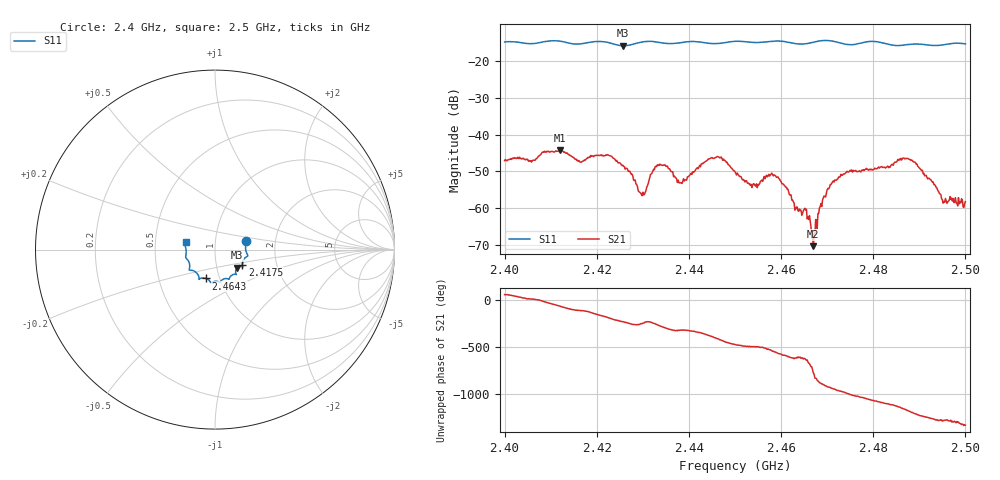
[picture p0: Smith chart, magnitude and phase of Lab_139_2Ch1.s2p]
# Hz S RI R 50
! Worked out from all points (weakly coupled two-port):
!   601 points, 2.4 GHz to 2.5 GHz, reference 50 ohm
!   highest |S21| = -44.31 dB at 2.412 GHz (marker M1); lowest = -70.3 dB at 2.467 GHz (marker M2)
!   lowest |S11| = -15.9 dB at 2.4257 GHz (marker M3), VSWR 1.38, Z = 62.5 - j13 ohm
!   |S11| at or under -10 dB: start of sweep to end of sweep
!   S12 and S22 are empty: the file has one direction only
!   S11 on the Smith chart (normalised r, x): 2.4 GHz: 1.41, +0.14; 2.4175 GHz: 1.34, -0.23; 2.4643 GHz: 0.86, -0.28; 2.5 GHz: 0.72, +0.06
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2.4e9  0.1731 0.0488  0.0024 0.00373  0 0  0 0
2.412e9  0.1807 -0.0369  0.00261 -0.0055  0 0  0 0
2.416667e9  0.1529 -0.074  -0.00173 -0.00384  0 0  0 0
2.4175e9  0.1518 -0.0837  -0.00219 -0.00391  0 0  0 0
2.425667e9  0.1229 -0.1016  -0.00244 0.00295  0 0  0 0
2.43e9  0.1174 -0.137  -0.000638 0.00152  0 0  0 0
2.433333e9  0.1136 -0.1373  -6.19e-05 0.00385  0 0  0 0
2.438e9  0.0823 -0.1542  0.00171 0.0014  0 0  0 0
2.444667e9  0.0586 -0.1613  0.00435 -0.00194  0 0  0 0
2.45e9  0.0287 -0.1812  -0.00122 -0.00289  0 0  0 0
2.454e9  0.0107 -0.1767  -0.00156 -0.00148  0 0  0 0
2.459e9  -0.0227 -0.1839  -0.0025 0.000813  0 0  0 0
2.464333e9  -0.0499 -0.1606  -0.000178 0.00092  0 0  0 0
2.465667e9  -0.0659 -0.1578  9.57e-05 0.000711  0 0  0 0
2.466667e9  -0.0761 -0.159  0.000393 6.15e-05  0 0  0 0
2.467e9  -0.0789 -0.1597  0.000178 -0.000249  0 0  0 0
2.468833e9  -0.088 -0.1654  -0.00105 -0.000141  0 0  0 0
2.471167e9  -0.0879 -0.1623  -0.00173 0.00149  0 0  0 0
2.483333e9  -0.1407 -0.0896  0.00323 -0.00148  0 0  0 0
2.488e9  -0.16 -0.0495  -0.00123 -0.00442  0 0  0 0
2.4955e9  -0.1648 0.0154  -0.00115 0.000346  0 0  0 0
2.5e9  -0.1637 0.043  -0.000413 0.00116  0 0  0 0
